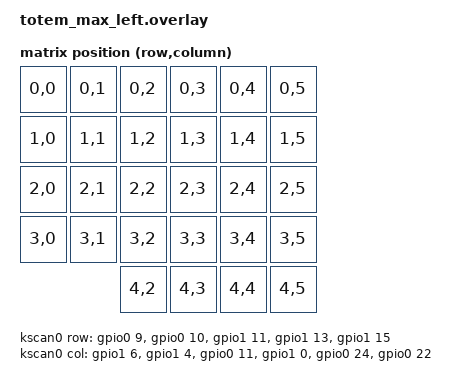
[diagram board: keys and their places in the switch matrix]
/*
 * Totem Max — left (central) half overlay
 *
 * Matrix pins (nRF52840):
 *   Rows: P0_09, P0_10, P1_11, P1_13, P1_15
 *   Cols: P1_06, P1_04, P0_11, P1_00, P0_24, P0_22
 * Diode direction: col2row
 */

#include "totem_max.dtsi"

/ {
    chosen {
        zmk,kscan = &kscan0;
        zmk,matrix-transform = &transform0;
    };

    kscan0: kscan {
        compatible = "zmk,kscan-gpio-matrix";
        label = "KSCAN_LEFT";
        diode-direction = "col2row";

        row-gpios =
            <&gpio0 9  (GPIO_ACTIVE_HIGH | GPIO_PULL_DOWN)>,
            <&gpio0 10 (GPIO_ACTIVE_HIGH | GPIO_PULL_DOWN)>,
            <&gpio1 11 (GPIO_ACTIVE_HIGH | GPIO_PULL_DOWN)>,
            <&gpio1 13 (GPIO_ACTIVE_HIGH | GPIO_PULL_DOWN)>,
            <&gpio1 15 (GPIO_ACTIVE_HIGH | GPIO_PULL_DOWN)>
        ;

        col-gpios =
            <&gpio1 6  GPIO_ACTIVE_HIGH>,
            <&gpio1 4  GPIO_ACTIVE_HIGH>,
            <&gpio0 11 GPIO_ACTIVE_HIGH>,
            <&gpio1 0  GPIO_ACTIVE_HIGH>,
            <&gpio0 24 GPIO_ACTIVE_HIGH>,
            <&gpio0 22 GPIO_ACTIVE_HIGH>
        ;
    };

    /* Left side: matrix order matches physical left-to-right */
    transform0: transform {
        compatible = "zmk,matrix-transform";
        columns = <6>;
        rows = <5>;
        map = <
        RC(0,0) RC(0,1) RC(0,2) RC(0,3) RC(0,4) RC(0,5)
        RC(1,0) RC(1,1) RC(1,2) RC(1,3) RC(1,4) RC(1,5)
        RC(2,0) RC(2,1) RC(2,2) RC(2,3) RC(2,4) RC(2,5)
        RC(3,0) RC(3,1) RC(3,2) RC(3,3) RC(3,4) RC(3,5)
                        RC(4,2) RC(4,3) RC(4,4) RC(4,5)
        >;
    };
};
